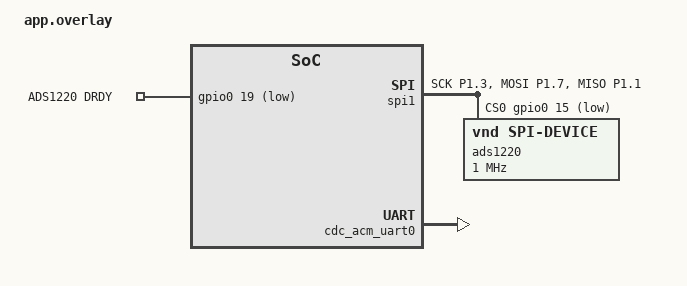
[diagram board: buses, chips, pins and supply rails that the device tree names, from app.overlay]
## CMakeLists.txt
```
cmake_minimum_required(VERSION 3.20.0)
find_package(Zephyr REQUIRED HINTS $ENV{ZEPHYR_BASE})
project(test_ads1220)
target_sources(app PRIVATE src/main.c)
```

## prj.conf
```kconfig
# Phase 1 bench test — ADS1220 SPI smoke test on XIAO nRF52840 Plus.
#
# This build is wired for a XIAO Plus with a broken MISO1 (D18 / P1.05)
# tab. MISO is remapped to D13 (I2S_WS / P1.01) — see app.overlay.

CONFIG_GPIO=y
CONFIG_SPI=y
CONFIG_PINCTRL=y

CONFIG_LOG=y
CONFIG_LOG_BUFFER_SIZE=2048
CONFIG_LOG_DEFAULT_LEVEL=3

# USB composite: CDC ACM serial + HID mouse.
CONFIG_USB_DEVICE_STACK=y
CONFIG_USB_DEVICE_PRODUCT="Atlas ADS1220 test"
CONFIG_USB_DEVICE_INITIALIZE_AT_BOOT=n
CONFIG_USB_CDC_ACM=y
CONFIG_UART_LINE_CTRL=y
CONFIG_SERIAL=y
CONFIG_CONSOLE=y
CONFIG_UART_CONSOLE=y

# HID mouse — host sees a USB pointing device, cursor moves in response
# to strain readings.
CONFIG_USB_DEVICE_HID=y
CONFIG_HID_INTERRUPT_EP_MPS=8

CONFIG_MAIN_STACK_SIZE=2048
CONFIG_HEAP_MEM_POOL_SIZE=1024
```

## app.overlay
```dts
/*
 * Phase 1 ADS1220 bench test — overlay for XIAO nRF52840 Plus.
 *
 * BENCH ADJUSTMENT: this XIAO has a broken MISO1 (D18 / P1.05) tab.
 * MISO is rerouted to D13 (I2S_WS / P1.01). The PCB design in
 * tools/keyboard.yaml keeps D18 as the canonical MISO assignment —
 * this override is bench-only.
 */

#include <dt-bindings/pinctrl/nrf-pinctrl.h>
#include <zephyr/dt-bindings/gpio/gpio.h>

&pinctrl {
	spi1_default: spi1_default {
		group1 {
			psels = <NRF_PSEL(SPIM_SCK,  1, 3)>,    /* D17 / P1.03 */
				<NRF_PSEL(SPIM_MOSI, 1, 7)>,    /* D19 / P1.07 */
				<NRF_PSEL(SPIM_MISO, 1, 1)>;    /* D13 / P1.01  ← BENCH override */
		};
	};

	spi1_sleep: spi1_sleep {
		group1 {
			psels = <NRF_PSEL(SPIM_SCK,  1, 3)>,
				<NRF_PSEL(SPIM_MOSI, 1, 7)>,
				<NRF_PSEL(SPIM_MISO, 1, 1)>;
			low-power-enable;
		};
	};
};

&spi1 {
	status = "okay";
	compatible = "nordic,nrf-spim";
	pinctrl-0 = <&spi1_default>;
	pinctrl-1 = <&spi1_sleep>;
	pinctrl-names = "default", "sleep";
	cs-gpios = <&gpio0 15 GPIO_ACTIVE_LOW>;          /* D11 / P0.15 */

	ads1220: ads1220@0 {
		compatible = "vnd,spi-device";
		reg = <0>;
		spi-max-frequency = <1000000>;
		status = "okay";
	};
};

/ {
	inputs {
		compatible = "gpio-keys";
		drdy: drdy {
			gpios = <&gpio0 19 (GPIO_ACTIVE_LOW | GPIO_PULL_UP)>;  /* D12 / P0.19 */
			label = "ADS1220 DRDY";
		};
	};
};

/* Route console to USB CDC ACM. */
&zephyr_udc0 {
	cdc_acm_uart0: cdc_acm_uart0 {
		compatible = "zephyr,cdc-acm-uart";
	};
};

/ {
	chosen {
		zephyr,console = &cdc_acm_uart0;
		zephyr,shell-uart = &cdc_acm_uart0;
	};
};
```

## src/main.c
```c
/*
 * Atlas — Phase 2 ADS1220 strain-gauge bench test.
 *
 * Phase 1 (smoke test) is preserved as a boot-time sanity gate: RESET,
 * read R0..R3, expect all 0x00. If that passes, the firmware proceeds
 * to configure the chip for ratiometric strain-gauge reading and
 * streams X/Y conversion results over USB CDC serial.
 *
 * BENCH NOTE: this XIAO Plus has a broken MISO1 (D18 / P1.05) tab.
 * MISO is rerouted to D13 (I2S_WS / P1.01) in app.overlay. The PCB
 * design in tools/keyboard.yaml keeps D18 — bench-only override.
 *
 * Wiring expected by this firmware (Phase 2 complete):
 *   AIN0  ← trackpoint [x]    (X-axis strain output)
 *   AIN1  ← trackpoint [y]    (Y-axis strain output)
 *   REFP0 ← trackpoint [a]    (excitation high, IDAC1 sourced here)
 *   REFN0 ← trackpoint [b]    (excitation low, also tied to AGND)
 *   AIN2  = midpoint of 2x 2400Ω divider between REFP0 and REFN0
 *   shield → AGND             (one wire from outside tab to AGND)
 *
 * LED status:
 *   blue flash on boot    — firmware loaded
 *   solid red             — SPI/RESET fail
 *   red blink             — register read fail
 *   yellow                — Phase 1 reset check ≠ defaults
 *   solid green           — Phase 2 streaming OK
 *   blue flicker          — activity above threshold (stick deflected)
 */

#include <math.h>

#include <zephyr/kernel.h>
#include <zephyr/drivers/gpio.h>
#include <zephyr/drivers/spi.h>
#include <zephyr/usb/usb_device.h>
#include <zephyr/usb/class/usb_hid.h>
#include <zephyr/logging/log.h>

LOG_MODULE_REGISTER(ads1220_test, LOG_LEVEL_INF);

/* ---- ADS1220 commands (datasheet table 15) ---- */
#define ADS1220_CMD_RESET        0x06
#define ADS1220_CMD_START        0x08
#define ADS1220_CMD_RREG(r, n)   (0x20 | (((r) & 0x3) << 2) | (((n) - 1) & 0x3))
#define ADS1220_CMD_WREG(r, n)   (0x40 | (((r) & 0x3) << 2) | (((n) - 1) & 0x3))

/* MUX settings for register 0 (upper nibble). AINP - AINN. */
#define MUX_AIN0_AIN2  0x1   /* X axis: strain output minus divider midpoint */
#define MUX_AIN1_AIN2  0x3   /* Y axis: same idea */

/* Gain field for register 0 (bits [3:1]). The strain bridge produces
 * mV-range differentials; with gain=1 we threw away ~5 bits of
 * resolution. Gain=64 doubles the per-push delta over gain=32, so
 * the cursor reaches HID full speed at half the physical deflection. */
#define GAIN_64X       0x6   /* 110: ×64 */

/* Configuration after RESET:
 *   R1 = 0x60  175 SPS, single-shot, normal mode, no temp, no burnout
 *              (faster sample rate → snappier mouse response)
 *   R2 = 0x44  external Vref via REFP0/REFN0, no 50/60Hz filter,
 *              low-side switch open, IDAC = 500 µA
 *   R3 = 0xA0  IDAC1 routed to REFP0, IDAC2 disabled, DRDY only on
 *              dedicated pin
 *   R0 alternates per axis: MUX<<4 | GAIN<<1 | PGA_BYPASS=0
 */
#define ADS1220_R1_VAL  0x60
#define ADS1220_R2_VAL  0x44
#define ADS1220_R3_VAL  0xA0

/* Baseline / activity tuning. */
#define BASELINE_SAMPLES    32        /* per-axis samples to average for zero */
#define ACTIVITY_THRESHOLD  20000     /* |centered x| or |y| > this → blue LED */

/* Mouse motion mapping. Tuned for gain=64. Deadzone is *radial* — the
 * dead region is a disc of radius MOUSE_DEADZONE in (cx, cy) space, not
 * a per-axis band. That makes diagonals respond identically to cardinal
 * pushes at the same magnitude. */
#define MOUSE_DEADZONE      20000     /* radius (LSB) of the dead disc */
#define MOUSE_DIVISOR       4000      /* full HID speed (±127) at ~530k deflection */

/* ---- USB HID mouse ---- */
static const uint8_t hid_report_desc[] = {
	HID_USAGE_PAGE(HID_USAGE_GEN_DESKTOP),
	HID_USAGE(HID_USAGE_GEN_DESKTOP_MOUSE),
	HID_COLLECTION(HID_COLLECTION_APPLICATION),
		HID_USAGE(HID_USAGE_GEN_DESKTOP_POINTER),
		HID_COLLECTION(HID_COLLECTION_PHYSICAL),
			/* 3 buttons */
			HID_USAGE_PAGE(HID_USAGE_GEN_BUTTON),
			HID_USAGE_MIN8(1),
			HID_USAGE_MAX8(3),
			HID_LOGICAL_MIN8(0),
			HID_LOGICAL_MAX8(1),
			HID_REPORT_COUNT(3),
			HID_REPORT_SIZE(1),
			HID_INPUT(0x02),
			/* 5 bits padding to round byte 0 */
			HID_REPORT_COUNT(1),
			HID_REPORT_SIZE(5),
			HID_INPUT(0x03),
			/* X / Y, signed 8-bit relative */
			HID_USAGE_PAGE(HID_USAGE_GEN_DESKTOP),
			HID_USAGE(HID_USAGE_GEN_DESKTOP_X),
			HID_USAGE(HID_USAGE_GEN_DESKTOP_Y),
			HID_LOGICAL_MIN8(-127),
			HID_LOGICAL_MAX8(127),
			HID_REPORT_SIZE(8),
			HID_REPORT_COUNT(2),
			HID_INPUT(0x06),
		HID_END_COLLECTION,
	HID_END_COLLECTION,
};

static const struct device *hid_dev;

static void map_mouse_xy(int32_t cx, int32_t cy, int8_t *dx_out, int8_t *dy_out)
{
	float fx = (float)cx;
	float fy = (float)cy;
	float r2 = fx * fx + fy * fy;
	float dz = (float)MOUSE_DEADZONE;

	if (r2 < dz * dz) {
		*dx_out = 0;
		*dy_out = 0;
		return;
	}

	float r = sqrtf(r2);
	/* Subtract the dead radius from the magnitude, then scale by the
	 * divisor. Direction is preserved by multiplying back through
	 * (cx/r, cy/r). */
	float scale = (r - dz) / (r * (float)MOUSE_DIVISOR);

	float fdx = fx * scale;
	float fdy = fy * scale;

	if (fdx >  127.0f) fdx =  127.0f;
	if (fdx < -127.0f) fdx = -127.0f;
	if (fdy >  127.0f) fdy =  127.0f;
	if (fdy < -127.0f) fdy = -127.0f;

	*dx_out = (int8_t)fdx;
	*dy_out = (int8_t)fdy;
}

static void hid_send(int8_t dx, int8_t dy)
{
	if (hid_dev == NULL) {
		return;
	}
	uint8_t report[3] = { 0, (uint8_t)dx, (uint8_t)dy };
	(void)hid_int_ep_write(hid_dev, report, sizeof(report), NULL);
}

/* ---- Devicetree handles ---- */
static const struct spi_dt_spec ads_spi = SPI_DT_SPEC_GET(
	DT_NODELABEL(ads1220),
	SPI_OP_MODE_MASTER | SPI_TRANSFER_MSB | SPI_WORD_SET(8) | SPI_MODE_CPHA,
	0);
static const struct gpio_dt_spec drdy   = GPIO_DT_SPEC_GET(DT_NODELABEL(drdy), gpios);
static const struct gpio_dt_spec led_r  = GPIO_DT_SPEC_GET(DT_ALIAS(led0), gpios);
static const struct gpio_dt_spec led_g  = GPIO_DT_SPEC_GET(DT_ALIAS(led1), gpios);
static const struct gpio_dt_spec led_b  = GPIO_DT_SPEC_GET(DT_ALIAS(led2), gpios);

/* ---- DRDY synchronisation ---- */
static K_SEM_DEFINE(drdy_sem, 0, 1);
static struct gpio_callback drdy_cb;

static void drdy_off_handler(struct k_work *w);
K_WORK_DELAYABLE_DEFINE(drdy_off_work, drdy_off_handler);

static void led_set(const struct gpio_dt_spec *l, bool on)
{
	gpio_pin_set_dt(l, on ? 1 : 0);
}

static void drdy_off_handler(struct k_work *w)
{
	led_set(&led_b, false);
}

static void drdy_isr(const struct device *dev, struct gpio_callback *cb, uint32_t pins)
{
	k_sem_give(&drdy_sem);
}

/* ---- ADS1220 SPI helpers ---- */
static int ads_send_cmd(uint8_t cmd)
{
	struct spi_buf tx = { .buf = &cmd, .len = 1 };
	struct spi_buf_set tx_set = { .buffers = &tx, .count = 1 };
	return spi_write_dt(&ads_spi, &tx_set);
}

static int ads_read_reg(uint8_t reg, uint8_t *val)
{
	uint8_t tx_buf[2] = { ADS1220_CMD_RREG(reg, 1), 0xFF };
	uint8_t rx_buf[2] = { 0, 0 };
	struct spi_buf tx = { .buf = tx_buf, .len = 2 };
	struct spi_buf rx = { .buf = rx_buf, .len = 2 };
	struct spi_buf_set tx_set = { .buffers = &tx, .count = 1 };
	struct spi_buf_set rx_set = { .buffers = &rx, .count = 1 };

	int err = spi_transceive_dt(&ads_spi, &tx_set, &rx_set);
	if (err == 0) {
		*val = rx_buf[1];
	}
	return err;
}

static int ads_write_reg(uint8_t reg, uint8_t val)
{
	uint8_t cmd[2] = { ADS1220_CMD_WREG(reg, 1), val };
	struct spi_buf tx = { .buf = cmd, .len = 2 };
	struct spi_buf_set tx_set = { .buffers = &tx, .count = 1 };
	return spi_write_dt(&ads_spi, &tx_set);
}

/* Read a 24-bit two's-complement conversion result. */
static int ads_read_data(int32_t *out)
{
	uint8_t tx_buf[3] = { 0xFF, 0xFF, 0xFF };
	uint8_t rx_buf[3] = { 0, 0, 0 };
	struct spi_buf tx = { .buf = tx_buf, .len = 3 };
	struct spi_buf rx = { .buf = rx_buf, .len = 3 };
	struct spi_buf_set tx_set = { .buffers = &tx, .count = 1 };
	struct spi_buf_set rx_set = { .buffers = &rx, .count = 1 };

	int err = spi_transceive_dt(&ads_spi, &tx_set, &rx_set);
	if (err) {
		return err;
	}

	int32_t raw = ((int32_t)rx_buf[0] << 24) |
		      ((int32_t)rx_buf[1] << 16) |
		      ((int32_t)rx_buf[2] << 8);
	*out = raw >> 8;     /* arithmetic shift sign-extends from 24 to 32 bits */
	return 0;
}

/* Run one single-shot conversion on the given MUX setting and return the
 * 24-bit signed result. Blocks on DRDY with a 100 ms timeout. */
static int ads_read_axis(uint8_t mux, int32_t *out)
{
	uint8_t r0 = (mux << 4) | (GAIN_64X << 1);  /* PGA enabled */
	int err = ads_write_reg(0, r0);
	if (err) {
		return err;
	}

	k_sem_reset(&drdy_sem);
	err = ads_send_cmd(ADS1220_CMD_START);
	if (err) {
		return err;
	}

	if (k_sem_take(&drdy_sem, K_MSEC(100)) != 0) {
		return -ETIMEDOUT;
	}

	return ads_read_data(out);
}

/* ---- Failure modes ---- */
static void fatal_solid_red(const char *why)
{
	LOG_ERR("FATAL: %s", why);
	led_set(&led_r, true);
	led_set(&led_g, false);
	led_set(&led_b, false);
	while (1) {
		k_msleep(1000);
	}
}

static void fatal_blink_red(const char *why)
{
	LOG_ERR("FATAL: %s", why);
	led_set(&led_g, false);
	led_set(&led_b, false);
	while (1) {
		led_set(&led_r, true);
		k_msleep(200);
		led_set(&led_r, false);
		k_msleep(200);
	}
}

int main(void)
{
	int err;

	/* Set up HID device before usb_enable so the descriptor is registered. */
	hid_dev = device_get_binding("HID_0");
	if (hid_dev != NULL) {
		usb_hid_register_device(hid_dev,
					hid_report_desc, sizeof(hid_report_desc),
					NULL);
		usb_hid_init(hid_dev);
	}

	(void)usb_enable(NULL);
	k_msleep(2000);

	LOG_INF("=== Atlas ADS1220 Phase 2 strain-gauge bench test ===");
	LOG_INF("BENCH NOTE: MISO is on D13 (P1.01) — D18 broken on this XIAO");

	/* ---- LEDs ---- */
	if (!gpio_is_ready_dt(&led_r) || !gpio_is_ready_dt(&led_g) || !gpio_is_ready_dt(&led_b)) {
		return -1;
	}
	gpio_pin_configure_dt(&led_r, GPIO_OUTPUT_INACTIVE);
	gpio_pin_configure_dt(&led_g, GPIO_OUTPUT_INACTIVE);
	gpio_pin_configure_dt(&led_b, GPIO_OUTPUT_INACTIVE);

	led_set(&led_b, true);
	k_msleep(400);
	led_set(&led_b, false);

	/* ---- Peripherals ---- */
	if (!spi_is_ready_dt(&ads_spi)) {
		fatal_solid_red("SPI controller not ready");
	}
	if (!gpio_is_ready_dt(&drdy)) {
		fatal_solid_red("DRDY GPIO not ready");
	}
	gpio_pin_configure_dt(&drdy, GPIO_INPUT);
	gpio_pin_interrupt_configure_dt(&drdy, GPIO_INT_EDGE_TO_ACTIVE);
	gpio_init_callback(&drdy_cb, drdy_isr, BIT(drdy.pin));
	gpio_add_callback(drdy.port, &drdy_cb);

	/* ---- Phase 1 sanity gate: reset → registers should all be 0x00 ---- */
	LOG_INF("Phase 1: RESET + register check");
	err = ads_send_cmd(ADS1220_CMD_RESET);
	if (err) {
		fatal_solid_red("RESET command failed");
	}
	k_msleep(2);

	uint8_t reg[4];
	for (int i = 0; i < 4; i++) {
		err = ads_read_reg(i, &reg[i]);
		if (err) {
			fatal_blink_red("RREG failed");
		}
	}
	LOG_INF("Reset state: R0=0x%02x R1=0x%02x R2=0x%02x R3=0x%02x",
		reg[0], reg[1], reg[2], reg[3]);

	bool defaults_ok = (reg[0] == 0 && reg[1] == 0 && reg[2] == 0 && reg[3] == 0);
	if (!defaults_ok) {
		LOG_WRN("Reset values unexpected — proceeding anyway");
		led_set(&led_r, true);
		led_set(&led_g, true);  /* yellow warning */
	}

	/* ---- Phase 2: configure for strain-gauge measurement ---- */
	LOG_INF("Phase 2: configuring registers for ratiometric strain reading");
	if (ads_write_reg(1, ADS1220_R1_VAL) ||
	    ads_write_reg(2, ADS1220_R2_VAL) ||
	    ads_write_reg(3, ADS1220_R3_VAL)) {
		fatal_solid_red("WREG failed during Phase 2 setup");
	}

	/* Read back to confirm. */
	for (int i = 1; i < 4; i++) {
		ads_read_reg(i, &reg[i]);
	}
	LOG_INF("Configured:  R1=0x%02x R2=0x%02x R3=0x%02x",
		reg[1], reg[2], reg[3]);
	LOG_INF("  → 20 SPS single-shot, ext Vref REFP0/REFN0, IDAC=500uA→REFP0");

	/* IDAC + PGA settling. Datasheet: IDAC needs ~200 µs to reach final
	 * value; give it a margin to let the bridge stabilise too. */
	k_msleep(50);

	/* ---- Baseline auto-zero: average BASELINE_SAMPLES at rest ---- */
	LOG_INF("Capturing %d-sample baseline per axis (don't touch the stick)...",
		BASELINE_SAMPLES);
	int64_t sum_x = 0, sum_y = 0;
	for (int i = 0; i < BASELINE_SAMPLES; i++) {
		int32_t x, y;
		if (ads_read_axis(MUX_AIN0_AIN2, &x) ||
		    ads_read_axis(MUX_AIN1_AIN2, &y)) {
			fatal_blink_red("baseline read failed");
		}
		sum_x += x;
		sum_y += y;
	}
	int32_t base_x = (int32_t)(sum_x / BASELINE_SAMPLES);
	int32_t base_y = (int32_t)(sum_y / BASELINE_SAMPLES);
	LOG_INF("Baseline: X=%d Y=%d", base_x, base_y);

	if (defaults_ok) {
		led_set(&led_g, true);  /* solid green = streaming */
	}

	/* ---- Phase 2 main loop ---- */
	LOG_INF("Streaming X/Y centered deltas (gain=32x, baseline-zeroed)...");
	uint32_t err_count = 0;
	while (1) {
		int32_t x = 0, y = 0;

		err = ads_read_axis(MUX_AIN0_AIN2, &x);
		if (err) {
			err_count++;
			LOG_ERR("X read err %d (total %u)", err, err_count);
			k_msleep(100);
			continue;
		}

		err = ads_read_axis(MUX_AIN1_AIN2, &y);
		if (err) {
			err_count++;
			LOG_ERR("Y read err %d (total %u)", err, err_count);
			k_msleep(100);
			continue;
		}

		int32_t cx = x - base_x;
		int32_t cy = y - base_y;

		/* HID mouse report. Radial deadzone + linear scale. */
		int8_t dx, dy;
		map_mouse_xy(cx, cy, &dx, &dy);
		if (dx || dy) {
			hid_send(dx, dy);
		}

		LOG_INF("X=%8d  Y=%8d  dx=%4d dy=%4d", cx, cy, dx, dy);

		/* Activity flicker on the centered values. */
		int32_t ax = (cx < 0) ? -cx : cx;
		int32_t ay = (cy < 0) ? -cy : cy;
		if (ax > ACTIVITY_THRESHOLD || ay > ACTIVITY_THRESHOLD) {
			led_set(&led_b, true);
			k_work_reschedule(&drdy_off_work, K_MSEC(80));
		}

		/* No explicit sleep — each axis read takes ~50 ms (20 SPS),
		 * so full X+Y cycle is ~100 ms naturally (10 Hz). */
	}
}
```
